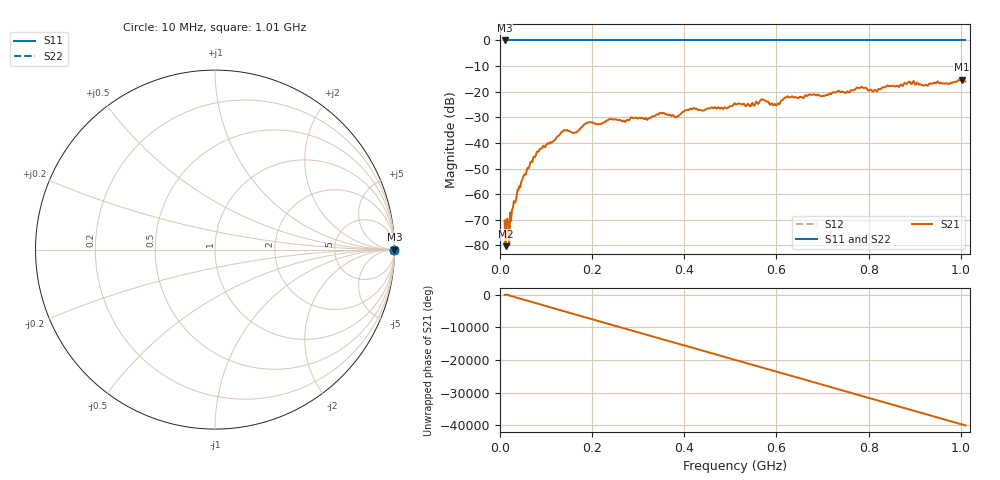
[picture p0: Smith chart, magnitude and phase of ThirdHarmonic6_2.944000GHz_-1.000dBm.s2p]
! 8/17/2025 8:15:38 AM
! C:\ANRITSUVNA\TEMP\TEMP.S2P
! CHANNEL.1
! TR.MEASUREMENT
! RAW.DATA
! RF.CORRECTION.OFF
! AVERAGING.OFF
! IF.BANDWIDTH: 5KHZ
! SWEEPTYPE:  FREQ.SWEEP(Linear)
! Reference Plane Port Info
! PORT:  PORT1  PORT2
! DISTANCE:  0  m  0  m
! TIME:  0  s  0  s
! PHASE.OFFSET:  0  deg.  0  deg.
! LOSS:  0  dB  0  dB
! REF.LOSS:  0  dB  0  dB
! REF.FREQ:  0  Hz  0  Hz
! Power Info
! POWER:  -20  dBm  -20  dBm
! EFF.POWER:  -20  dBm  -20  dBm
! SOURCE.ATTEN:  0  dB  0  dB
! TEST.ATTEN:  0  dB  0  dB
# GHZ S RI R 50.0
! FREQ.GHZ  S11RE  S11IM  S21RE  S21IM  S12RE  S12IM  S22RE  S22IM
!; PortSelection: Port_12
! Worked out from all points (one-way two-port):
!   501 points, 10 MHz to 1.01 GHz, reference 50 ohm
!   highest |S21| = -15.27 dB at 1.002 GHz (marker M1); lowest = -80.3 dB at 12 MHz (marker M2)
!   lowest |S11| = 0.0 dB at 10 MHz (marker M3)
!   |S11| at or under -10 dB: nowhere
!   |S22| runs from 0.0 to 0.0 dB; largest |S21 - S12| = 1.2
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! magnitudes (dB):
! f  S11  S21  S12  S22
! 10 MHz  0.0  -70.3  0.0  0.0
! 12 MHz  0.0  -80.3  0.0  0.0
! 16 MHz  0.0  -69.5  0.0  0.0
! 42 MHz  0.0  -56.8  0.0  0.0
! 84 MHz  0.0  -43.3  0.0  0.0
! 136 MHz  0.0  -35.5  0.0  0.0
! 162 MHz  0.0  -36.0  0.0  0.0
! 178 MHz  0.0  -33.7  0.0  0.0
! 344 MHz  0.0  -28.9  0.0  0.0
! 382 MHz  0.0  -29.8  0.0  0.0
! 416 MHz  0.0  -26.9  0.0  0.0
! 510 MHz  0.0  -24.5  0.0  0.0
! 548 MHz  0.0  -24.3  0.0  0.0
! 570 MHz  0.0  -23.1  0.0  0.0
! 596 MHz  0.0  -24.8  0.0  0.0
! 622 MHz  0.0  -22.1  0.0  0.0
! 678 MHz  0.0  -21.2  0.0  0.0
! 780 MHz  0.0  -18.7  0.0  0.0
! 814 MHz  0.0  -19.3  0.0  0.0
! 844 MHz  0.0  -17.8  0.0  0.0
! 1.002 GHz  0.0  -15.3  0.0  0.0
! 1.01 GHz  0.0  -16.0  0.0  0.0
